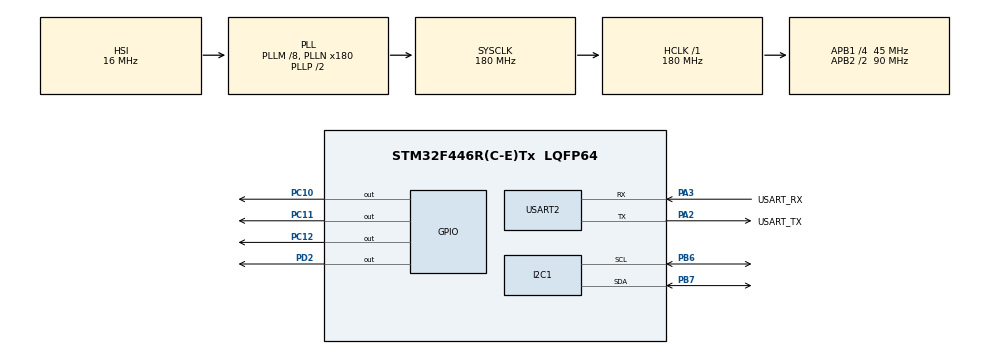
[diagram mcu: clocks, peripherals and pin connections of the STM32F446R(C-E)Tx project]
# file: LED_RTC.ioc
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Mcu.Family=STM32F4
Mcu.Name=STM32F446R(C-E)Tx
Mcu.Package=LQFP64
NVIC.I2C1_EV_IRQn=true\:6\:0\:true\:false\:true\:true\:true\:true
NVIC.PriorityGroup=NVIC_PRIORITYGROUP_4
NVIC.TIM6_DAC_IRQn=true\:15\:0\:false\:false\:true\:false\:true\:true
NVIC.TimeBase=TIM6_DAC_IRQn
NVIC.TimeBaseIP=TIM6
NVIC.USART2_IRQn=true\:6\:0\:true\:false\:true\:true\:true\:true
PA13.GPIO_Label=TMS
PA13.Signal=SYS_JTMS-SWDIO
PA14.GPIO_Label=TCK
PA14.Signal=SYS_JTCK-SWCLK
PA2.GPIO_Label=USART_TX
PA2.Mode=Asynchronous
PA2.Signal=USART2_TX
PA3.GPIO_Label=USART_RX
PA3.Mode=Asynchronous
PA3.Signal=USART2_RX
PB3.GPIO_Label=SWO
PB3.Signal=SYS_JTDO-SWO
PB6.Mode=I2C
PB6.Signal=I2C1_SCL
PB7.Mode=I2C
PB7.Signal=I2C1_SDA
PC10.Signal=GPIO_Output
PC11.Signal=GPIO_Output
PC12.Signal=GPIO_Output
PC14-OSC32_IN.Signal=RCC_OSC32_IN
PC15-OSC32_OUT.Signal=RCC_OSC32_OUT
PD2.Signal=GPIO_Output
PH0-OSC_IN.Signal=RCC_OSC_IN
PH1-OSC_OUT.Signal=RCC_OSC_OUT
ProjectManager.HeapSize=0x200
ProjectManager.StackSize=0x400
ProjectManager.TargetToolchain=STM32CubeIDE
RCC.AHBFreq_Value=180000000
RCC.APB1CLKDivider=RCC_HCLK_DIV4
RCC.APB1Freq_Value=45000000
RCC.APB1TimFreq_Value=90000000
RCC.APB2CLKDivider=RCC_HCLK_DIV2
RCC.APB2Freq_Value=90000000
RCC.APB2TimFreq_Value=180000000
RCC.CortexFreq_Value=180000000
RCC.FLatency-AdvancedSettings=FLASH_LATENCY_5
RCC.HCLKFreq_Value=180000000
RCC.HSE_VALUE=8000000
RCC.HSI_VALUE=16000000
RCC.LSE_VALUE=32768
RCC.PLLM=8
RCC.PLLN=180
RCC.SYSCLKFreq_VALUE=180000000
RCC.SYSCLKSource=RCC_SYSCLKSOURCE_PLLCLK
RCC.USBFreq_Value=180000000
RCC.VCOOutputFreq_Value=360000000
USART2.VirtualMode=VM_ASYNC
VP_SYS_VS_tim6.Mode=TIM6
board=NUCLEO-F446RE

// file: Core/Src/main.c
/* USER CODE BEGIN Header */
/**
  ******************************************************************************
  * @file           : main.c
  * @brief          : Main program body
  ******************************************************************************
  * @attention
  *
  * Copyright (c) 2022 STMicroelectronics.
  * All rights reserved.
  *
  * This software is licensed under terms that can be found in the LICENSE file
  * in the root directory of this software component.
  * If no LICENSE file comes with this software, it is provided AS-IS.
  *
  ******************************************************************************
  */
/* USER CODE END Header */
#include "main.h"

 I2C_HandleTypeDef hi2c1;

UART_HandleTypeDef huart2;

void SystemClock_Config(void);
static void MX_GPIO_Init(void);
static void MX_I2C1_Init(void);
static void MX_USART2_UART_Init(void);

/* USER CODE BEGIN 0 */
TaskHandle_t  handle_menu_task ;
TaskHandle_t  hanlde_cmd_task  ;
TaskHandle_t handle_printf_task ;
TaskHandle_t handle_led_task ;
TaskHandle_t handle_rtc_task ;

QueueHandle_t q_data ;
QueueHandle_t q_printf ;

//  Software timer handles.
TimerHandle_t  handle_led_timer[4];
void led_effect_callback (TimerHandle_t xTimer);

// state variable
state_t curr_state  = sMainMenu ;

volatile uint8_t user_data ; // Data gửi vào UART
/* USER CODE END 0 */

int main(void)
{
  /* USER CODE BEGIN 1 */
	BaseType_t status ;
  /* USER CODE END 1 */

  /* MCU Configuration--------------------------------------------------------*/

  /* Reset of all peripherals, Initializes the Flash interface and the Systick. */
  HAL_Init();

  /* Configure the system clock */
  SystemClock_Config();

  /* Initialize all configured peripherals */
  MX_GPIO_Init();
  MX_I2C1_Init();
  MX_USART2_UART_Init();
  /* USER CODE BEGIN 2 */

  status = xTaskCreate(menu_task, "menu_task", 250,NULL,2, &handle_menu_task) ;
  configASSERT(status == pdPASS) ;

  status = xTaskCreate(cmd_hanlder_task, "cmd_task", 250, NULL,2, &hanlde_cmd_task) ;
  configASSERT(status == pdPASS) ;

  status = xTaskCreate(printf_task, "printf_task", 250, NULL,2, &handle_printf_task) ;
  configASSERT(status == pdPASS) ;

  status = xTaskCreate(led_task, "led_task", 250, NULL, 2, &handle_led_task) ;
  configASSERT(status == pdPASS) ;

  status = xTaskCreate(rtc_task, "rtc_task", 250, NULL, 2, &handle_rtc_task) ;
  configASSERT(status == pdPASS) ;

  q_data = xQueueCreate(10,sizeof(char)) ;
  configASSERT(q_data != NULL) ;

  // we enqueue a pointer to the string or pointer to the message into this queue
  q_printf = xQueueCreate(10,sizeof(size_t)) ;
   configASSERT(q_printf != NULL) ;

   // creat software timers for LED effects.
   initTimer();
//   for (int i = 0 ; i< 4 ; i ++)
//   {
//	   handle_led_timer[i] =  xTimerCreate("led_timer", pdMS_TO_TICKS(500),pdTRUE,(void *)(i+1),led_effect_callback) ;
//   }

   HAL_UART_Receive_IT(&huart2,(uint8_t *)&user_data,1);

  // start the FreeRTOS scheduler
  vTaskStartScheduler();

  /* USER CODE END 2 */

  /* Infinite loop */
  while (1)
  {

  }
}

void SystemClock_Config(void)
{
  RCC_OscInitTypeDef RCC_OscInitStruct = {0};
  RCC_ClkInitTypeDef RCC_ClkInitStruct = {0};

  /** Configure the main internal regulator output voltage
  */
  __HAL_RCC_PWR_CLK_ENABLE();
  __HAL_PWR_VOLTAGESCALING_CONFIG(PWR_REGULATOR_VOLTAGE_SCALE1);

  /** Initializes the RCC Oscillators according to the specified parameters
  * in the RCC_OscInitTypeDef structure.
  */
  RCC_OscInitStruct.OscillatorType = RCC_OSCILLATORTYPE_HSI;
  RCC_OscInitStruct.HSIState = RCC_HSI_ON;
  RCC_OscInitStruct.HSICalibrationValue = RCC_HSICALIBRATION_DEFAULT;
  RCC_OscInitStruct.PLL.PLLState = RCC_PLL_ON;
  RCC_OscInitStruct.PLL.PLLSource = RCC_PLLSOURCE_HSI;
  RCC_OscInitStruct.PLL.PLLM = 8;
  RCC_OscInitStruct.PLL.PLLN = 180;
  RCC_OscInitStruct.PLL.PLLP = RCC_PLLP_DIV2;
  RCC_OscInitStruct.PLL.PLLQ = 2;
  RCC_OscInitStruct.PLL.PLLR = 2;
  if (HAL_RCC_OscConfig(&RCC_OscInitStruct) != HAL_OK)
  {
    Error_Handler();
  }

  /** Activate the Over-Drive mode
  */
  if (HAL_PWREx_EnableOverDrive() != HAL_OK)
  {
    Error_Handler();
  }

  /** Initializes the CPU, AHB and APB buses clocks
  */
  RCC_ClkInitStruct.ClockType = RCC_CLOCKTYPE_HCLK|RCC_CLOCKTYPE_SYSCLK
                              |RCC_CLOCKTYPE_PCLK1|RCC_CLOCKTYPE_PCLK2;
  RCC_ClkInitStruct.SYSCLKSource = RCC_SYSCLKSOURCE_PLLCLK;
  RCC_ClkInitStruct.AHBCLKDivider = RCC_SYSCLK_DIV1;
  RCC_ClkInitStruct.APB1CLKDivider = RCC_HCLK_DIV4;
  RCC_ClkInitStruct.APB2CLKDivider = RCC_HCLK_DIV2;

  if (HAL_RCC_ClockConfig(&RCC_ClkInitStruct, FLASH_LATENCY_5) != HAL_OK)
  {
    Error_Handler();
  }
}

static void MX_I2C1_Init(void)
{

  hi2c1.Instance = I2C1;
  hi2c1.Init.ClockSpeed = 100000;
  hi2c1.Init.DutyCycle = I2C_DUTYCYCLE_2;
  hi2c1.Init.OwnAddress1 = 0;
  hi2c1.Init.AddressingMode = I2C_ADDRESSINGMODE_7BIT;
  hi2c1.Init.DualAddressMode = I2C_DUALADDRESS_DISABLE;
  hi2c1.Init.OwnAddress2 = 0;
  hi2c1.Init.GeneralCallMode = I2C_GENERALCALL_DISABLE;
  hi2c1.Init.NoStretchMode = I2C_NOSTRETCH_DISABLE;
  if (HAL_I2C_Init(&hi2c1) != HAL_OK)
  {
    Error_Handler();
  }

}

static void MX_USART2_UART_Init(void)
{

  huart2.Instance = USART2;
  huart2.Init.BaudRate = 115200;
  huart2.Init.WordLength = UART_WORDLENGTH_8B;
  huart2.Init.StopBits = UART_STOPBITS_1;
  huart2.Init.Parity = UART_PARITY_NONE;
  huart2.Init.Mode = UART_MODE_TX_RX;
  huart2.Init.HwFlowCtl = UART_HWCONTROL_NONE;
  huart2.Init.OverSampling = UART_OVERSAMPLING_16;
  if (HAL_UART_Init(&huart2) != HAL_OK)
  {
    Error_Handler();
  }

}

static void MX_GPIO_Init(void)
{
  GPIO_InitTypeDef GPIO_InitStruct = {0};

  /* GPIO Ports Clock Enable */
  __HAL_RCC_GPIOC_CLK_ENABLE();
  __HAL_RCC_GPIOH_CLK_ENABLE();
  __HAL_RCC_GPIOA_CLK_ENABLE();
  __HAL_RCC_GPIOD_CLK_ENABLE();
  __HAL_RCC_GPIOB_CLK_ENABLE();

  /*Configure GPIO pin Output Level */
  HAL_GPIO_WritePin(GPIOC, GPIO_PIN_10|GPIO_PIN_11|GPIO_PIN_12, GPIO_PIN_RESET);

  /*Configure GPIO pin Output Level */
  HAL_GPIO_WritePin(GPIOD, GPIO_PIN_2, GPIO_PIN_RESET);

  /*Configure GPIO pins : PC10 PC11 PC12 */
  GPIO_InitStruct.Pin = GPIO_PIN_10|GPIO_PIN_11|GPIO_PIN_12;
  GPIO_InitStruct.Mode = GPIO_MODE_OUTPUT_PP;
  GPIO_InitStruct.Pull = GPIO_NOPULL;
  GPIO_InitStruct.Speed = GPIO_SPEED_FREQ_LOW;
  HAL_GPIO_Init(GPIOC, &GPIO_InitStruct);

  /*Configure GPIO pin : PD2 */
  GPIO_InitStruct.Pin = GPIO_PIN_2;
  GPIO_InitStruct.Mode = GPIO_MODE_OUTPUT_PP;
  GPIO_InitStruct.Pull = GPIO_NOPULL;
  GPIO_InitStruct.Speed = GPIO_SPEED_FREQ_LOW;
  HAL_GPIO_Init(GPIOD, &GPIO_InitStruct);

}

/* USER CODE BEGIN 4 */

//void led_effect_callback (TimerHandle_t xTimer)
//{
//	int id ;
//	id = (uint32_t)pvTimerGetTimerID(xTimer) ;
//	switch(id)
//	{
//	case 1:
//		led_effect1();
//		break ;
//	case 2:
//		led_effect2();
//		break ;
//	case 3:
//		led_effect3();
//		break ;
//	case 4:
//		led_effect4();
//		break ;
//
//
//	}
//
//}

void HAL_UART_RxCpltCallback(UART_HandleTypeDef *huart)
{
	uint8_t dummy ;
	for (int i= 0 ; i < 4000 ; i++);

	if( !xQueueIsQueueFullFromISR(q_data)) // Kiểm tra hàng đợi đã đầy chưa nếu chưa sẽ trả về pdFALSE còn nếu đầy rồi thì trả về pdTRUE
	{
		/*Queue is not full */
		/*TODO: Enqueue data byte */
		xQueueSendFromISR(q_data,(void*)&user_data,NULL);  // user_data là nơi nhận data đc nhận về  thông qua khai báo HAL_UART_Receive_IT

	}else{
		/*Queue is full */

		if(user_data == '\n')
		{
			/*user_data = '\n' */
			/*TODO: make sure that last data byte of the queue is '\n' */
			xQueueReceiveFromISR(q_data,(void *)&dummy,NULL);  // delete last data byte
			xQueueSendFromISR(q_data,(void *)&user_data,NULL);
		}
	}

	/*TODO: send notification to command handling task if user_data = '\n' */
	if(user_data == '\n')
	{
		xTaskNotifyFromISR(hanlde_cmd_task,0,eNoAction , NULL);
	}

	/* TODO: Enable UART data byte reception again in IT mode */
	 HAL_UART_Receive_IT(&huart2,(uint8_t *)&user_data,1);

}
/* USER CODE END 4 */

void HAL_TIM_PeriodElapsedCallback(TIM_HandleTypeDef *htim)
{
  if (htim->Instance == TIM6) {
    HAL_IncTick();
  }
}

void Error_Handler(void)
{
  __disable_irq();
  while (1)
  {
  }
}
